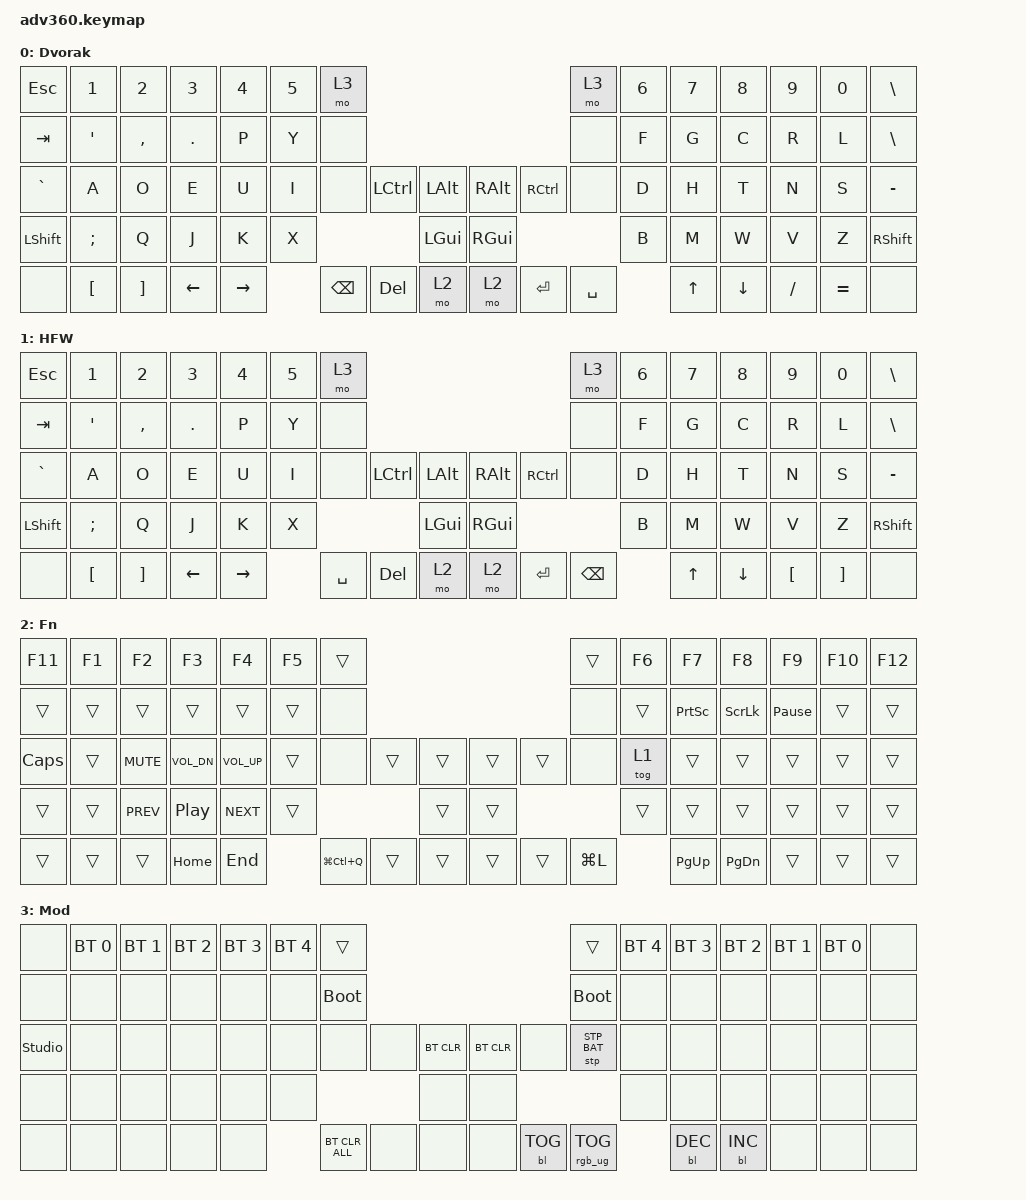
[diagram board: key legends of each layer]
#include <dt-bindings/zmk/stp.h>
#include <behaviors.dtsi>
#include <dt-bindings/zmk/backlight.h>
#include <dt-bindings/zmk/bt.h>
#include <dt-bindings/zmk/keys.h>
#include <dt-bindings/zmk/rgb.h>

/ {
    behaviors {
        #include "macros.dtsi"
      #include "version.dtsi"

        hm: homerow_mods {
            compatible = "zmk,behavior-hold-tap";
            label = "HOMEROW_MODS";
            #binding-cells = <2>;
            tapping-term-ms = <200>;
            quick_tap_ms = <175>;
            flavor = "tap-preferred";
            bindings = <&kp>, <&kp>;
        };
    };

    keymap {
        compatible = "zmk,keymap";

        Dvorak {
            display-name = "Dvorak";
            bindings = <
&kp ESC    &kp N1    &kp N2     &kp N3    &kp N4     &kp N5  &mo 3                                                   &mo 3      &kp N6  &kp N7  &kp N8    &kp N9     &kp N0     &kp BSLH
&kp TAB    &kp SQT   &kp COMMA  &kp DOT   &kp P      &kp Y   &none                                                   &none      &kp F   &kp G   &kp C     &kp R      &kp L      &kp BSLH
&kp GRAVE  &kp A     &kp O      &kp E     &kp U      &kp I   &none     &kp LCTRL  &kp LALT      &kp RALT  &kp RCTRL  &none      &kp D   &kp H   &kp T     &kp N      &kp S      &kp MINUS
&kp LSHFT  &kp SEMI  &kp Q      &kp J     &kp K      &kp X                        &kp LGUI      &kp RGUI                        &kp B   &kp M   &kp W     &kp V      &kp Z      &kp RSHFT
&none      &kp LBKT  &kp RBKT   &kp LEFT  &kp RIGHT          &kp BSPC  &kp DEL    &mo 2         &mo 2     &kp ENTER  &kp SPACE          &kp UP  &kp DOWN  &kp SLASH  &kp EQUAL  &none
            >;
        };

        HFW {
            display-name = "HFW";
            bindings = <
&kp ESC    &kp N1         &kp N2     &kp N3    &kp N4     &kp N5  &mo 3                                                    &mo 3          &kp N6  &kp N7  &kp N8    &kp N9    &kp N0    &kp BSLH
&kp TAB    &kp SQT        &kp COMMA  &kp DOT   &kp P      &kp Y   &none                                                    &none          &kp F   &kp G   &kp C     &kp R     &kp L     &kp BSLH
&kp GRAVE  &kp A          &kp O      &kp E     &kp U      &kp I   &none      &kp LCTRL  &kp LALT      &kp RALT  &kp RCTRL  &none          &kp D   &kp H   &kp T     &kp N     &kp S     &kp MINUS
&kp LSHFT  &kp SEMICOLON  &kp Q      &kp J     &kp K      &kp X                         &kp LGUI      &kp RGUI                            &kp B   &kp M   &kp W     &kp V     &kp Z     &kp RSHFT
&none      &kp LBKT       &kp RBKT   &kp LEFT  &kp RIGHT          &kp SPACE  &kp DEL    &mo 2         &mo 2     &kp ENTER  &kp BACKSPACE          &kp UP  &kp DOWN  &kp LBKT  &kp RBKT  &none
            >;
        };

        fn {
            display-name = "Fn";
            bindings = <
&kp F11   &kp F1  &kp F2      &kp F3        &kp F4        &kp F5  &trans                                             &trans     &kp F6  &kp F7     &kp F8          &kp F9           &kp F10  &kp F12
&trans    &trans  &trans      &trans        &trans        &trans  &none                                              &none      &trans  &kp PSCRN  &kp SCROLLLOCK  &kp PAUSE_BREAK  &trans   &trans
&kp CAPS  &trans  &kp C_MUTE  &kp C_VOL_DN  &kp C_VOL_UP  &trans  &none          &trans  &trans      &trans  &trans  &none      &tog 1  &trans     &trans          &trans           &trans   &trans
&trans    &trans  &kp C_PREV  &kp C_PP      &kp C_NEXT    &trans                         &trans      &trans                     &trans  &trans     &trans          &trans           &trans   &trans
&trans    &trans  &trans      &kp HOME      &kp END               &kp LG(LC(Q))  &trans  &trans      &trans  &trans  &kp LG(L)          &kp PG_UP  &kp PG_DN       &trans           &trans   &trans
            >;
        };

        mod {
            display-name = "Mod";
            bindings = <
&none           &bt BT_SEL 0  &bt BT_SEL 1  &bt BT_SEL 2  &bt BT_SEL 3  &bt BT_SEL 4  &trans                                                         &trans           &bt BT_SEL 4  &bt BT_SEL 3  &bt BT_SEL 2  &bt BT_SEL 1  &bt BT_SEL 0  &none
&none           &none         &none         &none         &none         &none         &bootloader                                                    &bootloader      &none         &none         &none         &none         &none         &none
&studio_unlock  &none         &none         &none         &none         &none         &none           &none  &bt BT_CLR      &bt BT_CLR  &none       &stp STP_BAT     &none         &none         &none         &none         &none         &none
&none           &none         &none         &none         &none         &none                                &none           &none                                    &none         &none         &none         &none         &none         &none
&none           &none         &none         &none         &none                       &bt BT_CLR_ALL  &none  &none           &none       &bl BL_TOG  &rgb_ug RGB_TOG                &bl BL_DEC    &bl BL_INC    &none         &none         &none
            >;
        };
    };
};
